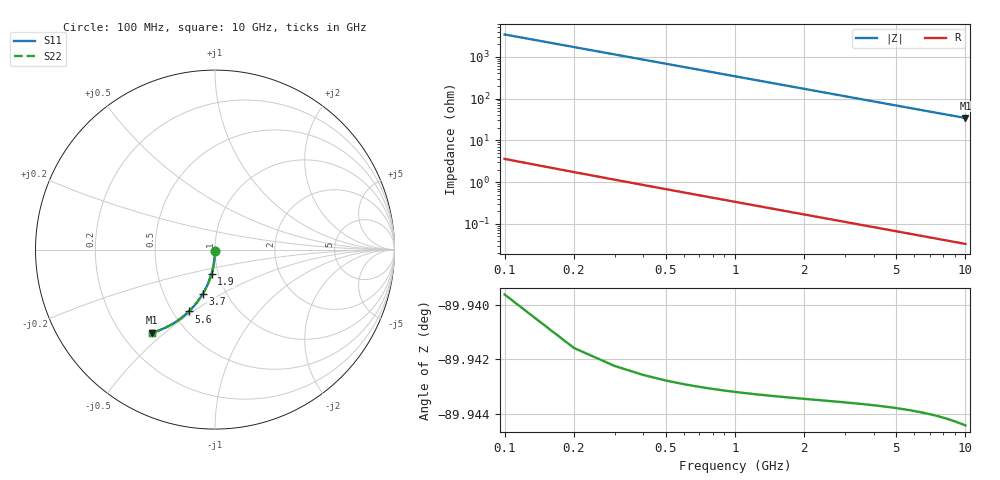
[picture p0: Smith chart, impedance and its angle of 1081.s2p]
# Hz S RI R 50.00
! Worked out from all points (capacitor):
!   100 points, 100 MHz to 10 GHz, reference 50 ohm
!   read as one part in shunt: C = 468 fF near 100 MHz
!   lowest |Z| = 34.2 ohm at 10 GHz (marker M1)
!   S11 on the Smith chart (normalised r, x): 100 MHz: 1.00, -0.01; 1.9 GHz: 0.93, -0.25; 3.7 GHz: 0.77, -0.41; 5.6 GHz: 0.60, -0.48; 10 GHz: 0.32, -0.45
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1e8  -3.72e-05 -0.00721  0.9999 -0.00748  0.9999 -0.00748  -3.72e-05 -0.00721
2e8  -0.000206 -0.0144  0.9997 -0.015  0.9997 -0.015  -0.000206 -0.0144
3e8  -0.000483 -0.0216  0.9995 -0.0224  0.9995 -0.0224  -0.000483 -0.0216
4e8  -0.000867 -0.0288  0.9991 -0.0299  0.9991 -0.0299  -0.000867 -0.0288
5e8  -0.00136 -0.036  0.9986 -0.0374  0.9986 -0.0374  -0.00136 -0.036
6e8  -0.00196 -0.0432  0.998 -0.0448  0.998 -0.0448  -0.00196 -0.0432
8e8  -0.00347 -0.0575  0.9965 -0.0597  0.9965 -0.0597  -0.00347 -0.0575
9e8  -0.00439 -0.0646  0.9956 -0.067  0.9956 -0.067  -0.00439 -0.0646
1.1e9  -0.00654 -0.0788  0.9934 -0.0818  0.9934 -0.0818  -0.00654 -0.0788
1.4e9  -0.0105 -0.0999  0.9894 -0.1037  0.9894 -0.1037  -0.0105 -0.0999
1.8e9  -0.0173 -0.1276  0.9826 -0.1324  0.9826 -0.1324  -0.0173 -0.1276
1.9e9  -0.0192 -0.1344  0.9807 -0.1395  0.9807 -0.1395  -0.0192 -0.1344
2.2e9  -0.0256 -0.1546  0.9743 -0.1606  0.9743 -0.1606  -0.0256 -0.1546
2.6e9  -0.0354 -0.1808  0.9645 -0.1879  0.9645 -0.1879  -0.0354 -0.1808
3.4e9  -0.059 -0.2307  0.9409 -0.24  0.9409 -0.24  -0.059 -0.2307
3.7e9  -0.0692 -0.2483  0.9307 -0.2584  0.9307 -0.2584  -0.0692 -0.2483
4.4e9  -0.0951 -0.2869  0.9047 -0.299  0.9047 -0.299  -0.0951 -0.2869
5.1e9  -0.1238 -0.3219  0.876 -0.336  0.876 -0.336  -0.1238 -0.3219
5.6e9  -0.1456 -0.3446  0.8542 -0.36  0.8542 -0.36  -0.1456 -0.3446
6.7e9  -0.1962 -0.3874  0.8036 -0.406  0.8036 -0.406  -0.1962 -0.3874
8.4e9  -0.2776 -0.4356  0.7221 -0.4591  0.7221 -0.4591  -0.2776 -0.4356
1e10  -0.3528 -0.4633  0.6467 -0.4915  0.6467 -0.4915  -0.3528 -0.4633
